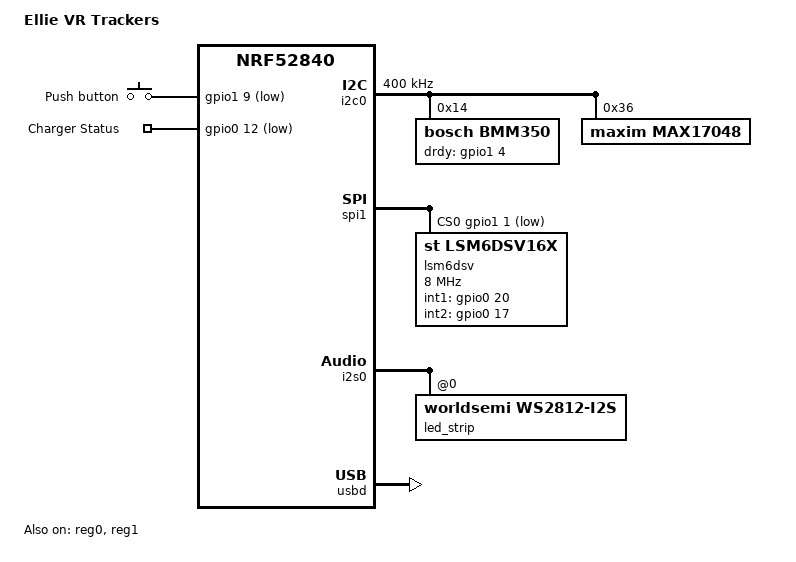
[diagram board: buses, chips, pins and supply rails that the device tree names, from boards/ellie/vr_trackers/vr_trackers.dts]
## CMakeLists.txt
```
cmake_minimum_required(VERSION 3.20)

list(APPEND BOARD_ROOT ${CMAKE_CURRENT_SOURCE_DIR})

find_package(Zephyr REQUIRED HINTS $ENV{ZEPHYR_BASE})
project(vr_trackers)

target_include_directories(app PRIVATE ${CMAKE_CURRENT_SOURCE_DIR}/include)

target_sources(app PRIVATE src/main.c
                           src/hardware/imu.c
                           src/hardware/magnetometer.c
                           src/hardware/button.c
                           src/hardware/esb.c
                           src/hardware/usb.c)
```

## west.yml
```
manifest:
  remotes:
    - name: nrfconnect
      url-base: https://github.com/nrfconnect
  projects:
    - name: nrf
      repo-path: sdk-nrf
      remote: nrfconnect
      revision: v3.2.3
      import: true
  self:
    path: .
```

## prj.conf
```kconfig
CONFIG_USB_DEVICE_STACK_NEXT=y
CONFIG_USBD_HID_SUPPORT=y

CONFIG_GPIO=y

CONFIG_I2C=y
CONFIG_SPI=y

CONFIG_SENSOR=y

CONFIG_ESB=y
CONFIG_ESB_MAX_PAYLOAD_LENGTH=32
CONFIG_ESB_PIPE_COUNT=8

CONFIG_COUNTER=y

CONFIG_I2S=y
CONFIG_LED_STRIP=y

CONFIG_FUEL_GAUGE=y
```

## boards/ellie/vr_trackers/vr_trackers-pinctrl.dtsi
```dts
&pinctrl {
	i2c0_default: i2c0_default {
		group1 {
			psels = <NRF_PSEL(TWIM_SDA, 0, 22)>,
				<NRF_PSEL(TWIM_SCL, 0, 24)>;
		};
	};

	i2c0_sleep: i2c0_sleep {
		group1 {
			psels = <NRF_PSEL(TWIM_SDA, 0, 22)>,
				<NRF_PSEL(TWIM_SCL, 0, 24)>;
			low-power-enable;
		};
	};

	spi1_default: spi1_default {
		group1 {
			psels = <NRF_PSEL(SPIM_SCK, 0, 2)>,
				<NRF_PSEL(SPIM_MOSI, 0, 29)>,
				<NRF_PSEL(SPIM_MISO, 0, 31)>;
		};
	};

	spi1_sleep: spi1_sleep {
		group1 {
			psels = <NRF_PSEL(SPIM_SCK, 0, 2)>,
				<NRF_PSEL(SPIM_MOSI, 0, 29)>,
				<NRF_PSEL(SPIM_MISO, 0, 31)>;
			low-power-enable;
		};
	};

	i2s0_default: i2s0_default {
		group1 {
				// there are unused pins because im using ws2812 over i2s with a
				// trick to only use the SDOUT line, but they still need to 
				// be configured for the peripheral to work
			psels = <NRF_PSEL(I2S_SDOUT, 1, 2)>,
				<NRF_PSEL(I2S_SDIN, 1, 5)>,
				<NRF_PSEL(I2S_SCK_M, 1, 6)>,
				<NRF_PSEL(I2S_LRCK_M, 1, 7)>;
		};
	};

	i2s0_sleep: i2s0_sleep {
		group1 {
			psels = <NRF_PSEL(I2S_SDOUT, 1, 2)>,
				<NRF_PSEL(I2S_SDIN, 1, 5)>,
				<NRF_PSEL(I2S_SCK_M, 1, 6)>,
				<NRF_PSEL(I2S_LRCK_M, 1, 7)>;
			low-power-enable;
		};
	};
};
```

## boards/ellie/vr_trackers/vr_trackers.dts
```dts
/dts-v1/;
#include <nordic/nrf52840_qiaa.dtsi>
#include <nordic/nrf52840_partition.dtsi>
#include <dt-bindings/input/input-event-codes.h>
#include <zephyr/dt-bindings/led/led.h>
#include "vr_trackers-pinctrl.dtsi"


/ {
    model = "Ellie VR Trackers";
    compatible = "ellie,vr-trackers";

    chosen {
        zephyr,sram = &sram0;
        zephyr,flash = &flash0;
        zephyr,code-partition = &slot0_partition;
        zephyr,ieee802154 = &ieee802154;
    };

    buttons {
        compatible = "gpio-keys";
        button0: button_0 {
            /* Schematic SW2 -> P1.09 */
            gpios = <&gpio1 9 (GPIO_PULL_UP | GPIO_ACTIVE_LOW)>;
            label = "Push button";
            zephyr,code = <INPUT_KEY_0>;
        };
    };

    charger {
        compatible = "gpio-keys"; 
        charger_stat: charger_stat {
            gpios = <&gpio0 12 (GPIO_PULL_UP | GPIO_ACTIVE_LOW)>;
            label = "Charger Status";
        };
    };

    aliases {
        sw0 = &button0;
        watchdog0 = &wdt0;
        accel0 = &lsm6dsv;
        magn0 = &bmm350;
        fuel-gauge0 = &max17048;
        charger-stat = &charger_stat;
        led-strip = &led_strip;
    };
};

&reg0 { status = "okay"; };
&reg1 {
    regulator-initial-mode = <NRF5X_REG_MODE_DCDC>;
    status = "okay";
};
&gpiote { status = "okay"; };
&gpio0 { status = "okay"; };
&gpio1 { status = "okay"; };

&i2c0 {
    compatible = "nordic,nrf-twim";
    status = "okay";
    pinctrl-0 = <&i2c0_default>;
    pinctrl-1 = <&i2c0_sleep>;
    pinctrl-names = "default", "sleep";
    clock-frequency = <I2C_BITRATE_FAST>;

    bmm350: bmm350@14 {
        compatible = "bosch,bmm350";
        reg = <0x14>;
        drdy-gpios = <&gpio1 4 GPIO_ACTIVE_HIGH>;
        status = "okay";
        odr = "100"; // can go up to 400hz
        osr = <2>;   /* Oversampling: 1, 2, 4, or 8 */
    };

    max17048: max17048@36 {
        compatible = "maxim,max17048";
        reg = <0x36>;
        status = "okay";
    };
};

&spi1 {
    compatible = "nordic,nrf-spi";
    status = "okay";
    pinctrl-0 = <&spi1_default>;
    pinctrl-1 = <&spi1_sleep>;
    pinctrl-names = "default", "sleep";

    cs-gpios = <&gpio1 1 GPIO_ACTIVE_LOW>;

    lsm6dsv: lsm6dsv@0 {
        compatible = "st,lsm6dsv16x";
        reg = <0>;
        spi-max-frequency = <8000000>;
        int1-gpios = <&gpio0 20 GPIO_ACTIVE_HIGH>;
        int2-gpios = <&gpio0 17 GPIO_ACTIVE_HIGH>;
        status = "okay";
    };
};

&i2s0 {
    status = "okay";
    pinctrl-0 = <&i2s0_default>;
    pinctrl-1 = <&i2s0_sleep>;
    pinctrl-names = "default", "sleep";

    led_strip: ws2812@0 {
        compatible = "worldsemi,ws2812-i2s";
        
        reg = <0>;
        chain-length = <1>;
        color-mapping = <LED_COLOR_ID_GREEN
				 LED_COLOR_ID_RED
				 LED_COLOR_ID_BLUE>;

        reset-delay = <120>;
    };
};

&usbd {
    compatible = "nordic,nrf-usbd";
    status = "okay";

    hid_dev_0: hid_dev_0 {
        compatible = "zephyr,hid-device";
		label = "HID0";
		protocol-code = "none";
		in-polling-period-us = <1000>;
		in-report-size = <64>;
    };
};
```

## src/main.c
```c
#include <stdint.h>
#include <zephyr/kernel.h>
#include <zephyr/device.h>
#include <zephyr/devicetree.h>
#include <zephyr/drivers/gpio.h>
#include <zephyr/drivers/sensor.h>
#include <zephyr/drivers/i2c.h>
#include <zephyr/drivers/spi.h>
#include <zephyr/logging/log.h>

#include "hardware/magnetometer.h"
#include "hardware/imu.h"
#include "hardware/button.h"
#include "hardware/usb.h"

LOG_MODULE_REGISTER(main, LOG_LEVEL_DBG);

static const struct device *const fuel_dev = DEVICE_DT_GET(DT_NODELABEL(max17048));
static const struct gpio_dt_spec charger_status = GPIO_DT_SPEC_GET(DT_NODELABEL(charger_stat), gpios);

static int init_fuel_gauge(void) {
    LOG_INF("Initializing fuel gauge");
    if (!device_is_ready(fuel_dev)) {
        LOG_ERR("MAX17048 device not ready");
        return -ENODEV;
    }
    LOG_INF("Fuel gauge initialized successfully");
    return 0;
}

static int init_charger_status(void) {
    LOG_INF("Initializing charger status GPIO");
    if (!gpio_is_ready_dt(&charger_status)) {
        LOG_ERR("Charger status GPIO device not ready");
        return -ENODEV;
    }
    int ret = gpio_pin_configure_dt(&charger_status, GPIO_INPUT);
    if (ret < 0) {
        LOG_ERR("Failed to configure charger status GPIO pin");
        return ret;
    }
    LOG_INF("Charger status GPIO initialized successfully");
    return 0;
}

int main() {
    init_imu();
    init_magnetometer();
    init_fuel_gauge();
    init_button();
    init_charger_status();
    init_usb();

    while (1) {
        LOG_INF("Hello, Zephyr!");
        k_sleep(K_SECONDS(1));
    }
}
```

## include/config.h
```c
#ifndef CONFIG_H
#define CONFIG_H

extern const struct device *const fuel_dev;

#define BUTTON_DEBOUNCE_MS 50

#define ESB_WORK_POOL_SIZE 64

#endif // CONFIG_H
```
